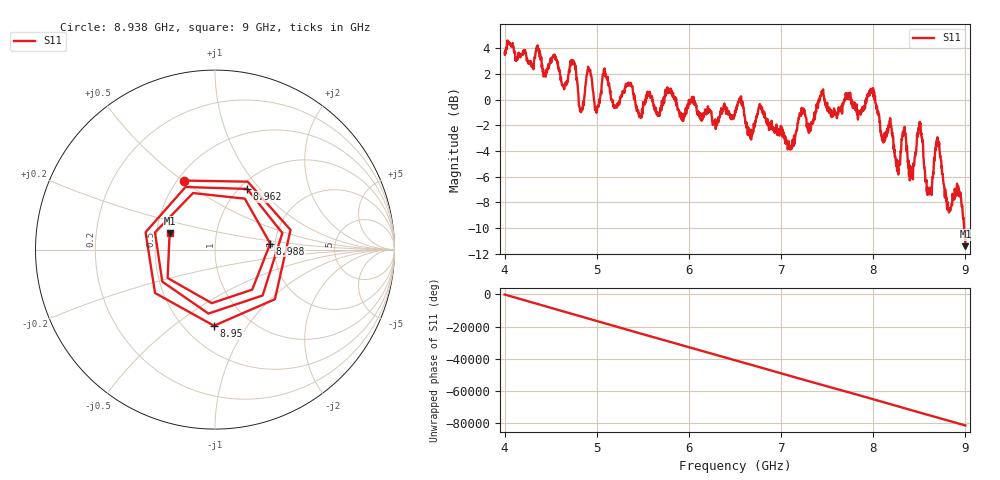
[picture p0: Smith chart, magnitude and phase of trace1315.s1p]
! Created with skrf 1.8.0 (http://scikit-rf.org).
# Hz S RI R 50.0
!freq ReS11 ImS11
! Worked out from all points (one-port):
!   1601 points, 4 GHz to 9 GHz, reference 50 ohm
!   lowest |S11| = -11.4 dB at 9 GHz (marker M1), VSWR 1.74, Z = 29.4 + j5.8 ohm
!   |S11| at or under -10 dB: 8.986565 GHz to end of sweep
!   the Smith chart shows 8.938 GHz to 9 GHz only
!   S11 on the Smith chart (normalised r, x): 8.938 GHz: 0.54, +0.51; 8.95 GHz: 0.69, -0.71; 8.962 GHz: 1.08, +0.86; 8.988 GHz: 1.88, +0.14; 9 GHz: 0.59, +0.12
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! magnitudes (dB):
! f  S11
! 4 GHz  3.6
! 4.538 GHz  3.5
! 4.625 GHz  1.1
! 4.738 GHz  3.0
! 4.828 GHz  -1.0
! 4.912 GHz  2.4
! 4.997 GHz  -1.0
! 5.088 GHz  2.2
! 5.25 GHz  -0.1
! 5.875 GHz  -0.6
! 6.5 GHz  -0.9
! 7.125 GHz  -3.1
! 7.434 GHz  0.3
! 7.75 GHz  0.5
! 7.991 GHz  0.8
! 8.259 GHz  -5.6
! 8.331 GHz  -2.5
! 8.375 GHz  -4.9
! 8.422 GHz  -5.7
! 8.506 GHz  -1.7
! 8.606 GHz  -7.4
! 8.697 GHz  -2.9
! 8.816 GHz  -8.6
! 8.938 GHz  -7.5
! 8.95 GHz  -7.4
! 8.962 GHz  -8.3
! 8.988 GHz  -10.2
! 9 GHz  -11.4
